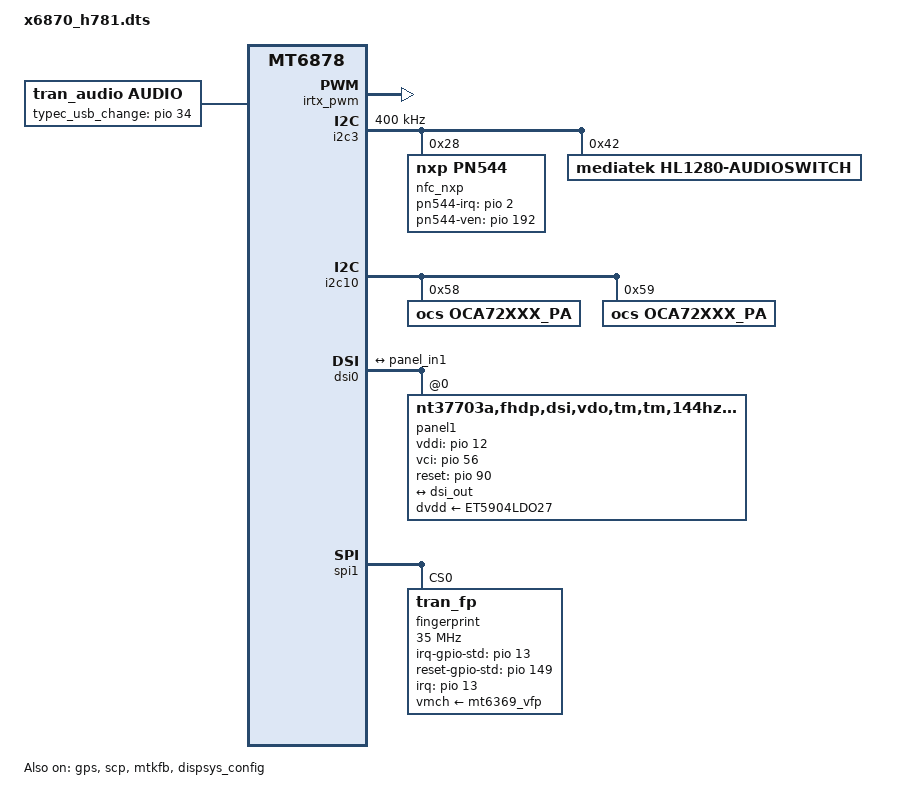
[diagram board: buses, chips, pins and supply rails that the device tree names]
// SPDX-License-Identifier: (GPL-2.0 OR MIT)
/*
 * Copyright (C) 2022 MediaTek Inc.
 */
/dts-v1/;
/plugin/;
#include <dt-bindings/interrupt-controller/arm-gic.h>
#include <dt-bindings/interrupt-controller/irq.h>
#include <dt-bindings/phy/phy.h>
#include <dt-bindings/pinctrl/mt6878-pinfunc.h>
#include <dt-bindings/iio/mt635x-auxadc.h>

#if 0
#include <dt-bindings/pinctrl/mt6897-pinfunc.h>
#endif

&chosen {
bootargs_ext = "";
};

&pdc {
	pd-vbus-upper-bound = <9000000>;
};

&irtx_pwm {
    pwm_ch = <0>;
    status = "okay";
};

&tran_sensor_cust {
    /*lcm info for sensor start*/
    /*als sensor support state*/
    un_als_support = <1 0 0 0>;/*ML MSL SL SSL*/
    /*main sensor:ML*/
    ml_lcm_info = <836 47 58 58>;/*offset_x, offset_y, clip_w, clip_h*/
    extra_ml_lcm_info = <844 49 46 46 80 20>; /*IC感光区起始坐标X IC感光区起始坐标Y IC宽 IC高  IC内占比 IC外占比*/
    /*main sub als lcm info:MSL*/
    /*lcm info for sensor end*/
    ml_nv_info = <1 1 1>; /*vendortype:SensorTek,  algotype:Cutout, version:V1_0_0*/
    nv_restore_time = <3>;
};


&connfem {
/* Enable epa_elna node to support Wifi & BT ePA/eLNA FEM on customer load */
#if 0
	epa-elna {
		parts = <&wlan7207h &wlan7207c>;
		wifi {
			flags-0 {
				open-loop;
			};
		};
		bt {
			flags-0 {
				/* choose one of: epa-elna/epa/elna/bypass */
				epa-elna;
			};
		};
	};
#endif
};

/* GPS GPIO standardization start */
&pio {
	gps_pins_default: gps-default {
	};
	gps_l1_lna_pins_ol: gps-l1-lna0 {
		pins-cmd-dat {
			pinmux = <PINMUX_GPIO154__FUNC_GPIO154>;
			output-low;
		};
	};
	gps_l1_lna_pins_dsp_ctrl: gps-l1-lna1 {
		pins-cmd-dat {
			pinmux = <PINMUX_GPIO154__FUNC_GPS_L1_ELNA_EN>;
		};
	};
	gps_l1_lna_pins_oh: gps-l1-lna2 {
		pins-cmd-dat {
			pinmux = <PINMUX_GPIO154__FUNC_GPIO154>;
			output-high;
		};
	};

};
&gps {
	pinctrl-names = "default",
		"gps_l1_lna_disable",
		"gps_l1_lna_dsp_ctrl",
		"gps_l1_lna_enable";
	pinctrl-0 = <&gps_pins_default>;
	pinctrl-1 = <&gps_l1_lna_pins_ol>;
	pinctrl-2 = <&gps_l1_lna_pins_dsp_ctrl>;
	pinctrl-3 = <&gps_l1_lna_pins_oh>;
	status = "okay";
};
/* GPS GPIO standardization end */

&i2c3 {
	clock-frequency = <400000>;
	status = "okay";
	nfc_nxp@28 {
		compatible = "nxp,pn544";
		reg = <0x28>;
		nxp,pn544-irq = <&pio 2 0x0>;
		nxp,pn544-ven = <&pio 192 0x0>;
	};
};


&sound {
    mediatek,spk-i2s = <25 24>;
};

&i2c3  {
    #address-cells = <1>;
    #size-cells = <0>;
    status = "okay";

    hl1280-audioswitch@42 {
        compatible = "mediatek,hl1280-audioswitch";
        reg = <0x42>;
        status = "okay";
    };
};

&i2c10 {
	oca72xxx_pa@58 {
		compatible = "ocs,oca72xxx_pa";
		reg = <0x58>;
		dev_index = < 1 >;
		status = "okay";
	};

	oca72xxx_pa@59 {
		compatible = "ocs,oca72xxx_pa";
		reg = <0x59>;
		dev_index = < 0 >;
		status = "okay";
	};
};

&odm {
       tran_audio_controller:tran_audio_controller {
               compatible = "tran-audio-controller";
               tran_pa_type = <4>;
       };

      tran_audio:tran_audio{
                      compatible = "tran_audio,audio";
                      typec_usb_change_gpio = <&pio 34 0>;
      };
};

&scp {
       compatible = "mediatek,scp";
       status = "okay";
       reg = <0 0x1c400000 0 0x100000>, /* tcm */
                 <0 0x1cb24000 0 0x1000>, /* cfg */
                 <0 0x1cb21000 0 0x1000>, /* clk*/
                 <0 0x1cb30000 0 0x1000>, /* cfg core0 */
                 <0 0x1cb40000 0 0x1000>, /* cfg core1 */
                 <0 0x1cb80000 0 0x1000>, /* bus tracker */
                 <0 0x1cb60000 0 0x20000>, /* llc */
                 <0 0x1cb2a000 0 0x4>, /* cfg_sec */

                 <0 0x1cba0000 0 0x100>, /* mbox0 base */
                 <0 0x1cba0100 0 0x4>, /* mbox0 set */
                 <0 0x1cba010c 0 0x4>, /* mbox0 clr */
                 <0 0x1cb2a020 0 0x4>, /* mbox0 init */

                 <0 0x1cbb0000 0 0x100>, /* mbox1 base */
                 <0 0x1cbb0100 0 0x4>, /* mbox1 set */
                 <0 0x1cbb010c 0 0x4>, /* mbox1 clr */
                 <0 0x1cb2a024 0 0x4>, /* mbox1 init */

                 <0 0x1cbc0000 0 0x100>, /* mbox2 base */
                 <0 0x1cbc0100 0 0x4>, /* mbox2 set */
                 <0 0x1cbc010c 0 0x4>, /* mbox2 clr */
                 <0 0x1cb2a028 0 0x4>, /* mbox2 init */

                 <0 0x1cbd0000 0 0x100>, /* mbox3 base */
                 <0 0x1cbd0100 0 0x4>, /* mbox3 set */
                 <0 0x1cbd010c 0 0x4>, /* mbox3 clr */
                 <0 0x1cb2a02c 0 0x4>, /* mbox3 init */

                 <0 0x1cbe0000 0 0x100>, /* mbox4 base */
                 <0 0x1cbe0100 0 0x4>, /* mbox4 set */
                 <0 0x1cbe010c 0 0x4>, /* mbox4 clr */
                 <0 0x1cb2a030 0 0x4>, /* mbox4 init */

                 <0 0x1cb50000 0 0x1000>; /* cfg ap*/

       reg-names = "scp_sram_base",
                       "scp_cfgreg",
                       "scp_clkreg",
                       "scp_cfgreg_core0",
                       "scp_cfgreg_core1",
                       "scp_bus_tracker",
                       "scp_l1creg",
                       "scp_cfgreg_sec",
                       "mbox0_base",
                       "mbox0_set",
                       "mbox0_clr",
                       "mbox0_init",
                       "mbox1_base",
                       "mbox1_set",
                       "mbox1_clr",
                       "mbox1_init",
                       "mbox2_base",
                       "mbox2_set",
                       "mbox2_clr",
                       "mbox2_init",
                       "mbox3_base",
                       "mbox3_set",
                       "mbox3_clr",
                       "mbox3_init",
                       "mbox4_base",
                       "mbox4_set",
                       "mbox4_clr",
                       "mbox4_init",
                       "scp_cfgreg_ap";

       interrupts = <GIC_SPI 516 IRQ_TYPE_LEVEL_HIGH 0>,
                        <GIC_SPI 517 IRQ_TYPE_LEVEL_HIGH 0>,
                        <GIC_SPI 518 IRQ_TYPE_LEVEL_HIGH 0>,
                        <GIC_SPI 519 IRQ_TYPE_LEVEL_HIGH 0>,
                        <GIC_SPI 520 IRQ_TYPE_LEVEL_HIGH 0>,
                        <GIC_SPI 521 IRQ_TYPE_LEVEL_HIGH 0>,
                        <GIC_SPI 522 IRQ_TYPE_LEVEL_HIGH 0>;

       interrupt-names = "ipc0",
                         "ipc1",
                         "mbox0",
                         "mbox1",
                         "mbox2",
                         "mbox3",
                         "mbox4";

       core-0 = "enable";
       scp-hwvoter = "enable";
       scp-sram-size = <0x00100000>;
       core-nums = <2>;        /* core number */
       twohart = <1>;          /* two hart arch */
       mbox-count = <4>;
       /* id, mbox, send_size*/
       send-table =
       < 0 0  11>,/* IPI_OUT_AUDIO_VOW_1 */
       <14 0  1>,/* IPI_OUT_DVFS_SET_FREQ_1 */
       <15 0  2>,/* IPI_OUT_C_SLEEP_1 */
       <16 0  1>,/* IPI_OUT_TEST_1 */
       //<24 0  6>,/* IPI_OUT_SCP_MPOOL_1 */
       <17 1  6>,/* IPI_OUT_LOGGER_CTRL */
       <18 1  2>,/* IPI_OUT_SCPCTL_1 */
       <46 1  1>,/* IPI_OUT_SCP_PM_NOTIFY_1 */
       <29 1 16>,/* IPI_OUT_SENSOR_CTRL */
       <31 1  7>,/* IPI_OUT_SENSOR_NOTIFY */
       < 4 2  1>,/* IPI_OUT_DVFS_SET_FREQ_0 */
       < 5 2  2>,/* IPI_OUT_C_SLEEP_0 */
       < 6 2  1>,/* IPI_OUT_TEST_0 */
       //<11 2  6>,/* IPI_OUT_SCP_MPOOL_0 */
       <33 2  16>,/* IPI_OUT_SCP_CONNSYS */
    <50 2 10>,/* IPI_OUT_ELLIPTIC_ULTRA_0 */
       < 3 3  4>,/* IPI_OUT_APCCCI_0 */
       <37 3  1>,/* IPI_OUT_SCP_AOD */
       <26 3  9>,/* IPI_OUT_AUDIO_ULTRA_SND_0 */
       <35 3  2>,/* IPI_OUT_C_SCP_HWVOTER_DEBUG */
       <39 3  4>,/* IPI_OUT_AOV_SCP */
       <43 3  4>,/* IPI_OUT_NPU_SCP */
       <45 3  1>;/* IPI_OUT_SCP_PM_NOTIFY_0 */

       #recv-cells-mode = <1>;
       /* mode 0 or no defined #recv-cells-mode => 4 elements : id, mbox,
        * recv_size, recv_opt
        */
       /* mode 1 => 7 elements : id, mbox, recv_size, recv_opt, lock, buf_full_opt,
        * cb_ctx_opt
        */
       recv-table =
       < 1 0  2 0 0 0 0>,/* IPI_IN_AUDIO_VOW_ACK_1 */
       < 2 0 26 0 0 0 0>,/* IPI_IN_AUDIO_VOW_1 */
       <36 0  1 0 0 0 0>,/* IPI_IN_AUDIO_ACDDET_1 */
       <15 0  1 1 0 0 0>,/* IPI_OUT_C_SLEEP_1 */
    <51 0  10 0 0 0 0>,/* IPI_IN_ELLIPTIC_ULTRA_0 */
       //<25 0 6 0 0 0 0>,/* IPI_IN_SCP_MPOOL_1 */
       <20 1 10 0 0 0 0>,/* IPI_IN_SCP_ERROR_INFO_1 */
       <21 1  6 0 0 0 0>,/* IPI_IN_LOGGER_CTRL */
       <22 1  1 0 0 0 0>,/* IPI_IN_SCP_READY_1 */
       <30 1  2 0 0 0 0>,/* IPI_IN_SENSOR_CTRL */
       <32 1  7 0 0 0 0>,/* IPI_IN_SENSOR_NOTIFY */
       < 5 2  1 1 0 0 0>,/* IPI_OUT_C_SLEEP_0 */
       < 8 2 10 0 0 0 0>,/* IPI_IN_SCP_ERROR_INFO_0 */
       //<12 2  6 0 0 0 0>,/* IPI_IN_SCP_MPOOL_0 */
       <34 2 16 0 0 0 0>,/* IPI_IN_SCP_CONNSYS */
       < 7 3  2 0 0 0 0>,/* IPI_IN_APCCCI_0 */
       <38 3  1 0 0 0 0>,/* IPI_IN_SCP_AOD */
       <28 3  5 0 0 0 0>,/* IPI_IN_AUDIO_ULTRA_SND_0 */
       <27 3  2 0 0 0 0>,/* IPI_IN_AUDIO_ULTRA_SND_ACK_0 */
       <35 3  4 1 0 0 0>,/* IPI_OUT_C_SCP_HWVOTER_DEBUG */
       <40 3  4 0 0 0 0>,/* IPI_IN_SCP_AOV */
       <44 3  4 0 0 0 0>;/* IPI_IN_SCP_NPU */

       //legacy_table =        <11>, /* out_id_0 IPI_OUT_SCP_MPOOL_0 */
       //              <24>, /* out_id_1 IPI_OUT_SCP_MPOOL_1 */
       //              <12>, /* in_id_0 IPI_IN_SCP_MPOOL_0 */
       //              <12>, /* in_id_1 IPI_IN_SCP_MPOOL_0 */
       //              <6>, /* out_size */
       //              <6>; /* in_size */

       /* feature, frequecy, coreid */
       scp-feature-tbl =
                         < 0  40 0>,   /* vow */
                         < 1   0 0>,   /* sensor */
                         < 2  26 0>,   /* flp */
                         < 3   0 0>,   /* rtos */
                         < 4 200 0>,   /* speaker */
                         < 5   0 0>,   /* vcore */
                         < 6 135 0>,   /* barge in */
                         < 7  10 0>,   /* vow dump */
                         < 8  80 0>,   /* vow vendor M */
                         < 9  43 0>,   /* vow vendor A */
                         <10  22 0>,   /* vow vendor G */
                         <11  20 0>,   /* vow dual mic */
                         <12 100 0>,   /* vow dual mic barge in */
                         <13 400 0>;   /* ultrasound */

       scp-dram-region = "enable";   /* enable scp dram region manage */
       scp-protect = "enable";   /* enable scp protections */
       secure-dump = "enable";   /* enable dump via secure world*/
       secure-dump-size = <0xe28000>;
       scp-pm-notify = "enable";
       scp-thermal-wq = "disable";
       scp-low-pwr-dbg = "enable";
       scp-cfgreg-ap-en = "enable";
       scp-ipc-wa = "disable";
       scp-mbrain = "enable";
       scp-bus-tracker-ver = <0x2>;
       scp-mem-key = "mediatek,reserve-memory-scp_share";

       /* feature ID, size, alignment */
       scp-mem-tbl =
                         <0 0x0 0x0>, /* secure dump, its size is in secure-dump-size */
                         <1 0xca700 0x0>, /* vow */
                         <2 0x100000 0x0>, /* sensor main*/
                         <3 0x180000 0x0>, /* logger */
                         <5 0xa000 0x0>, /* vow bargein */
                         <7 0x1a000 0x0>, /* ultrasound*/
                         <8 0x10000 0x0>, /* sensor supper*/
                         <9 0x1000 0x0>, /* sensor list */
                         <10 0x2000 0x0>, /* sensor debug */
                         <11 0x100 0x0>, /* sensor custom writer */
                         <12 0x100 0x0>, /* sensor custom reader */
                         <19 0x200 0x0>,  /* low power debug */
                         <20 0x8000 0x0>; /* usnd debug mode */

       memorydump = <0x100000>, /* l2tcm */
                        <0x0c4000>, /* l1c */
                        <0x003c00>, /* regdump */
                        <0x000400>, /* trace buffer */
                        <0xc60000>; /* dram */

       scp-resource-dump = "disable";   /* enable dump scp related resource */
       /* regulator */
       scp-supply-num = <3>;   /* total number of scp related regulator */
       //vscp0-supply = <&mt6363_vbuck4>;
       //vscp1-supply = <&mt6363_vsram_apu>;
       //vscp2-supply = <&mt6363_vs3>;

       /* dump register */
       /* cell means register info (address,size), not total reg num */
       scp-resource-reg-dump-cell = <2>;
       scp-resource-reg-dump = <0x1c001818 0x4>,
               <0x1c00192c 0x4>;
               //<0x1c0018e4 0x4>,
               //<0x1c0012b8 0x4>,
               //<0x1c013010 0x4>,

       /* awake timeout count plt setting */
       awake-timeout = <30000>; /* 300 ms */
};

&mtk_leds {
	compatible = "mediatek,disp-leds";

	backlight {
		led-mode = <4>;
		gate_enable = <0>;
		pwm_config = <0 1 0 0 0>;
		max-brightness = <511>;
		min-brightness = <0>;
		max-hw-brightness = <511>;
	};
};

&pio {
	mtkfb_pins_lcm_reset0: lcm_rst_out0_gpio {
		pins_cmd_dat {
			pinmux = <PINMUX_GPIO90__FUNC_GPIO90>;
			slew-rate = <1>;
			output-low;
		};
	};

	mtkfb_pins_lcm_reset1: lcm_rst_out1_gpio {
		pins_cmd_dat {
			pinmux = <PINMUX_GPIO90__FUNC_GPIO90>;
			slew-rate = <1>;
			output-high;
		};
	};

	mtkfb_pins_lcm_dsi_te: lcm_dsi_te {
		pins_cmd_dat {
			pinmux = <PINMUX_GPIO89__FUNC_DSI_TE>;
		};
	};
};

&mtkfb {
	pinctrl-names = "lcm_rst_out0_gpio", "lcm_rst_out1_gpio",
		"mode_te_te";
	pinctrl-1 = <&mtkfb_pins_lcm_reset0>;
	pinctrl-2 = <&mtkfb_pins_lcm_reset1>;
	pinctrl-3 = <&mtkfb_pins_lcm_dsi_te>;
	status = "okay";
};

&dispsys_config {
	pinctrl-names = "lcm_rst_out0_gpio", "lcm_rst_out1_gpio",
		"mode_te_te";
	pinctrl-1 = <&mtkfb_pins_lcm_reset0>;
	pinctrl-2 = <&mtkfb_pins_lcm_reset1>;
	pinctrl-3 = <&mtkfb_pins_lcm_dsi_te>;
	status = "okay";

	helper-value = <0>, /*MTK_DRM_OPT_STAGE*/
		<1>, /*MTK_DRM_OPT_USE_CMDQ*/
		<1>, /*MTK_DRM_OPT_USE_M4U*/
		<1>, /*MTK_DRM_OPT_MMQOS_SUPPORT*/
		<1>, /*MTK_DRM_OPT_MMDVFS_SUPPORT*/
		<0>, /*MTK_DRM_OPT_SODI_SUPPORT*/
		<1>, /*MTK_DRM_OPT_IDLE_MGR*/
		<0>, /*MTK_DRM_OPT_IDLEMGR_SWTCH_DECOUPLE*/
		<0>, /*MTK_DRM_OPT_IDLEMGR_BY_REPAINT*/
		<0>, /*MTK_DRM_OPT_IDLEMGR_ENTER_ULPS*/
		<0>, /*MTK_DRM_OPT_IDLEMGR_KEEP_LP11*/
		<0>, /*MTK_DRM_OPT_DYNAMIC_RDMA_GOLDEN_SETTING*/
		<1>, /*MTK_DRM_OPT_IDLEMGR_DISABLE_ROUTINE_IRQ*/
		<1>, /*MTK_DRM_OPT_IDLEMGR_ASYNC*/
		<0>, /*MTK_DRM_OPT_MET_LOG*/
		<1>, /*MTK_DRM_OPT_USE_PQ*/
		<1>, /*MTK_DRM_OPT_ESD_CHECK_RECOVERY*/
		<1>, /*MTK_DRM_OPT_ESD_CHECK_SWITCH*/
		<1>, /*MTK_DRM_OPT_PRESENT_FENCE*/
		<0>, /*MTK_DRM_OPT_RDMA_UNDERFLOW_AEE*/
		<1>, /*MTK_DRM_OPT_DSI_UNDERRUN_AEE*/
		<0>, /*MTK_DRM_OPT_ODDMR_OD_AEE*/
		<0>, /*MTK_DRM_OPT_ODDMR_DMR_AEE*/
		<1>, /*MTK_DRM_OPT_HRT*/
		<0>, /*MTK_DRM_OPT_HRT_MODE*/
		<0>, /*MTK_DRM_OPT_DELAYED_TRIGGER*/
		<1>, /*MTK_DRM_OPT_OVL_EXT_LAYER*/
		<1>, /*MTK_DRM_OPT_AOD*/
		<1>, /*MTK_DRM_OPT_RPO*/
		<0>, /*MTK_DRM_OPT_DUAL_PIPE*/
		<0>, /*MTK_DRM_OPT_DC_BY_HRT*/
		<0>, /*MTK_DRM_OPT_OVL_WCG*/
		<0>, /*MTK_DRM_OPT_OVL_SBCH*/
		<1>, /*MTK_DRM_OPT_COMMIT_NO_WAIT_VBLANK*/
		<0>, /*MTK_DRM_OPT_MET*/
		<0>, /*MTK_DRM_OPT_REG_PARSER_RAW_DUMP*/
		<0>, /*MTK_DRM_OPT_VP_PQ*/
		<0>, /*MTK_DRM_OPT_GAME_PQ*/
		<0>, /*MTK_DRM_OPT_MMPATH*/
		<1>, /*MTK_DRM_OPT_HBM*/
		<0>, /*MTK_DRM_OPT_VDS_PATH_SWITCH*/
		<0>, /*MTK_DRM_OPT_LAYER_REC*/
		<1>, /*MTK_DRM_OPT_CLEAR_LAYER*/
		<1>, /*MTK_DRM_OPT_LFR*/
		<0>, /*MTK_DRM_OPT_SF_PF*/
		<1>, /*MTK_DRM_OPT_DYN_MIPI_CHANGE*/
		<0>, /*MTK_DRM_OPT_PRIM_DUAL_PIPE*/
		<0>, /*MTK_DRM_OPT_MSYNC2_0*/
		<1>, /*MTK_DRM_OPT_MML_PRIMARY*/
		<0>, /*MTK_DRM_OPT_MML_SUPPORT_CMD_MODE*/
		<0>, /*MTK_DRM_OPT_MML_PQ*/
		<0>, /*MTK_DRM_OPT_MML_IR*/
		<0>, /*MTK_DRM_OPT_DUAL_TE*/
		<0>, /*MTK_DRM_OPT_RES_SWITCH*/
		<0>, /*MTK_DRM_OPT_PREFETCH_TE*/
		<0>, /*MTK_DRM_OPT_VIDLE_APSRC_OFF*/
		<0>, /*MTK_DRM_OPT_VIDLE_DSI_PLL_OFF*/
		<0>, /*MTK_DRM_OPT_CHECK_TRIGGER_MERGE*/
		<0>, /*MTK_DRM_OPT_VIRTUAL_DISP*/
		<0>, /*MTK_DRM_OPT_OVL_BW_MONITOR*/
		<0>, /*MTK_DRM_OPT_GPU_CACHE*/
		<1>, /*MTK_DRM_OPT_SPHRT*/
		<1>, /*MTK_DRM_OPT_SDPA_OVL_SWITCH*/
		<0>, /*MTK_DRM_OPT_HRT_BY_LARB*/
		<1>, /*MTK_DRM_OPT_LAYERING_RULE_BY_LARB*/
		<1>, /*MTK_DRM_OPT_RES_SWITCH_ON_AP*/
		<0>, /*MTK_DRM_OPT_TILE_OVERHEAD*/
		<1>, /*MTK_DRM_OPT_VIDLE_TOP_EN*/
		<0>, /*MTK_DRM_OPT_VIDLE_MTCMOS_DT_EN*/
		<1>, /*MTK_DRM_OPT_VIDLE_MMINFRA_DT_EN*/
		<0>, /*MTK_DRM_OPT_VIDLE_DVFS_DT_EN*/
		<0>, /*MTK_DRM_OPT_VIDLE_QOS_DT_EN*/
		<0>, /*MTK_DRM_OPT_VIDLE_GCE_TS_EN*/
		<0>, /*MTK_DRM_OPT_VIDLE_DECOUPLE_MODE*/
		<0>, /*MTK_DRM_OPT_VIDLE_VDO_PANEL*/
		<0>, /*MTK_DRM_OPT_VIDLE_HOME_SCREEN_IDLE*/
		<0>, /*MTK_DRM_OPT_DPC_PRE_TE_EN*/
		<0>; /*"MTK_DRM_OPT_PER_LARB_PORT_PEAK"*/
};

&dsi0 {
	status = "okay";
	#address-cells = <1>;
	#size-cells = <0>;
	panel1@0 {
		compatible = "nt37703a,fhdp,dsi,vdo,tm,tm,144hz,x6870";
		reg = <0>;
		doze_backlight = <3 5 7 29>;
		vddi-gpios = <&pio 12 0>;
		dvdd-supply = <&ET5904LDO27>;
		vci-gpios = <&pio 56 0>;
		reset-gpios = <&pio 90 0>;
		pinctrl-names = "default";
		port {
			panel_in1: endpoint {
				remote-endpoint = <&dsi_out>;
			};
		};
	};

	ports {
		port {
			dsi_out: endpoint {
				remote-endpoint = <&panel_in1>;
			};
		};
	};
};

&audio_sram {
	reg = <0 0x11059000 0 0xc000>;
	mode-size = <0xc000 0x11300>;
};

&audio_xhci_sram {
	reg = <0 0x11065000 0 0x3900>;
	mode-size = <0x3900>;
	afe-reserved;
};

&pdc {
	pd-vbus-upper-bound = <9000000>;
};
&spi1 {
    fingerprint@0 {
        compatible = "tran_fp";
        reg = <0>;
        spi-max-frequency = <35000000>;
        interrupt-parent = <&pio>;
        interrupts = <13 1 13 0>;
        debounce = <27 0>;
        irq-gpio = <13>;
        irq-gpio-std = <&pio 13 0x0>;
        reset-gpio = <149>;
        reset-gpio-std = <&pio 149 0x0>;
        vmch-supply = <&mt6369_vfp>;
        fod_location_xy = "630,2537";
        pinctrl-names ="tran_fp_default",
            "tran_fp_pin_irq",
            "tran_fp_irq_pull_down",
            "tran_fp_reset_high",
            "tran_fp_reset_low",
            "tran_fp_spi_default";
        pinctrl-0 = <&fingerprint_default>;
        pinctrl-1 = <&fingerprint_eint>;
        pinctrl-2 = <&fingerprint_eint_pull_down>;
        pinctrl-3 = <&fingerprint_rst_one>;
        pinctrl-4 = <&fingerprint_rst_zero>;
        pinctrl-5 = <&fingerprint_spi_default>;
        status = "okay";
    };
};
&pio {
fingerprint_default: fingerprint_default {
                     };
fingerprint_eint: gpio13_eint {
                      pins_cmd_dat {
                          pinmux = <PINMUX_GPIO13__FUNC_GPIO13>;
                          slew-rate = <0>;
                          bias-disable;
                      };
                  };
fingerprint_eint_pull_down: gpio13_eint_pull_down {
                                pins_cmd_dat {
                                    pinmux = <PINMUX_GPIO13__FUNC_GPIO13>;
                                    slew-rate = <0>;
                                    bias-pull-down = <00>;
                                    output-low;
                                };
                            };
fingerprint_rst_one: rst_out_one {
                         pins_cmd_dat {
                             pinmux = <PINMUX_GPIO149__FUNC_GPIO149>;
                             slew-rate = <1>;
                             bias-disable;
                             output-high;
                         };
                     };
fingerprint_rst_zero: rst_out_zero {
                          pins_cmd_dat {
                              pinmux = <PINMUX_GPIO149__FUNC_GPIO149>;
                              slew-rate = <1>;
                              bias-disable;
                              output-low;
                          };
                      };
fingerprint_spi_default: spimode_default {
                             pins_cmd_dat {
                                 pinmux = <PINMUX_GPIO61__FUNC_SPI1_CSB>,
                                        <PINMUX_GPIO60__FUNC_SPI1_CLK>,
                                        <PINMUX_GPIO63__FUNC_SPI1_MI>,
                                        <PINMUX_GPIO62__FUNC_SPI1_MO>;
                                 drive-strength = <7>;
                             };
                         };
};

&consys {
    hwid-node = <92>;
    adie-sku = <1 0>;
};

#include "mediatek/charge/x6870_h781/mt6375_typec.dtsi"
#include "mediatek/charge/x6870_h781/tc_hl7139a.dtsi"
#include "mediatek/charge/x6870_h781/tran_usb_ctrl.dtsi"
#include "mediatek/charge/x6870_h781/tc_pe50.dtsi"
#include "mediatek/charge/x6870_h781/protocol_ta.dtsi"
#include "mediatek/charge/x6870_h781/tc_charger.dtsi"
#include "mediatek/charge/x6870_h781/tc_charger_lk.dtsi"
#include "mediatek/charge/x6870_h781/bat_setting/mt6878_battery_prop.dtsi"
#include <x6870_h781/cust.dtsi>
#include "mediatek/tc_led.dtsi"
#include "mediatek/led/x6870_h781/aw210xx_x6870.dtsi"
#include "mediatek/touch/x6870_h781/tran_mt6878_touch_x6870.dtsi"
#include "mediatek/msdc/x6870_h781/cust_mt6878_msdc.dtsi"
#include "mediatek/camera/x6870/cust_mt6878_camera_v4l2.dtsi"
#include "mediatek/cust_k6878_connfem.dtsi"
#include "sensor/tran_mt6881_x6870_h781_sensor.dtsi"
/*End of this file, DO NOT ADD ANYTHING HERE*/

